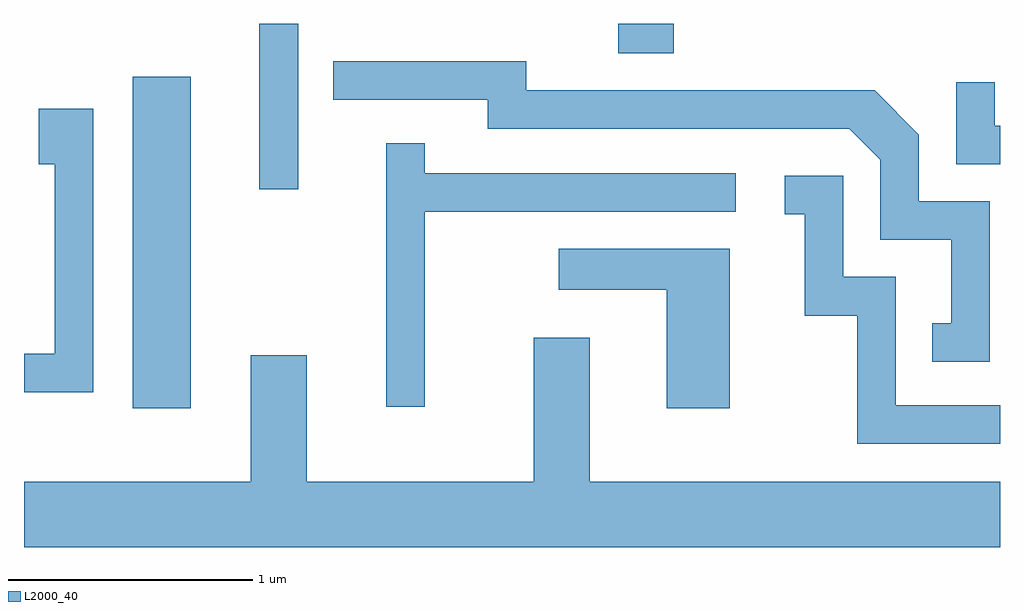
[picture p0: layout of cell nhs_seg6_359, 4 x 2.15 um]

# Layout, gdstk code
import gdstk
lib = gdstk.Library(unit=1e-6, precision=1e-09)
def R(c, l, rs):  # rectangles x0, y0, x1, y1
    for r in rs: c.add(gdstk.rectangle(r[:2], r[2:], *l))
def P(c, l, *ps):  # polygons
    for p in ps: c.add(gdstk.Polygon(p, *l))
L2000_40 = (2000, 40)

nhs_seg6_359 = lib.new_cell('nhs_seg6_359')
R(nhs_seg6_359, L2000_40, [(196.056,1570.586,196.294,1571.944), (196.576,1571.483,196.734,1572.162), (198.046,1572.041,198.274,1572.162)])
P(nhs_seg6_359, L2000_40, [(199.569,1571.434),(199.279,1571.434),(199.279,1571.707),(199.097,1571.889),(197.669,1571.889),(197.669,1572.009),(196.878,1572.009),(196.878,1571.851),(197.511,1571.851),(197.511,1571.731),(198.994,1571.731),(199.121,1571.604),(199.121,1571.276),(199.411,1571.276),(199.411,1570.934),(199.333,1570.934),(199.333,1570.776),(199.569,1570.776)],
  [(199.611,1571.744),(199.589,1571.744),(199.589,1571.923),(199.431,1571.923),(199.431,1571.586),(199.611,1571.586)],
  [(195.894,1571.814),(195.671,1571.814),(195.671,1571.586),(195.736,1571.586),(195.736,1570.809),(195.611,1570.809),(195.611,1570.651),(195.894,1570.651)],
  [(197.254,1571.391),(198.528,1571.391),(198.528,1571.549),(197.254,1571.549),(197.254,1571.673),(197.096,1571.673),(197.096,1570.593),(197.254,1570.593)],
  [(199.611,1570.599),(199.184,1570.599),(199.184,1571.124),(198.969,1571.124),(198.969,1571.539),(198.728,1571.539),(198.728,1571.381),(198.811,1571.381),(198.811,1570.966),(199.026,1570.966),(199.026,1570.441),(199.611,1570.441)],
  [(198.504,1571.239),(197.803,1571.239),(197.803,1571.071),(198.246,1571.071),(198.246,1570.586),(198.504,1570.586)],
  [(199.611,1570.284),(197.929,1570.284),(197.929,1570.874),(197.701,1570.874),(197.701,1570.284),(196.769,1570.284),(196.769,1570.804),(196.541,1570.804),(196.541,1570.284),(195.611,1570.284),(195.611,1570.016),(199.611,1570.016)])

lib.write_gds('nhs_seg6_359.gds')
